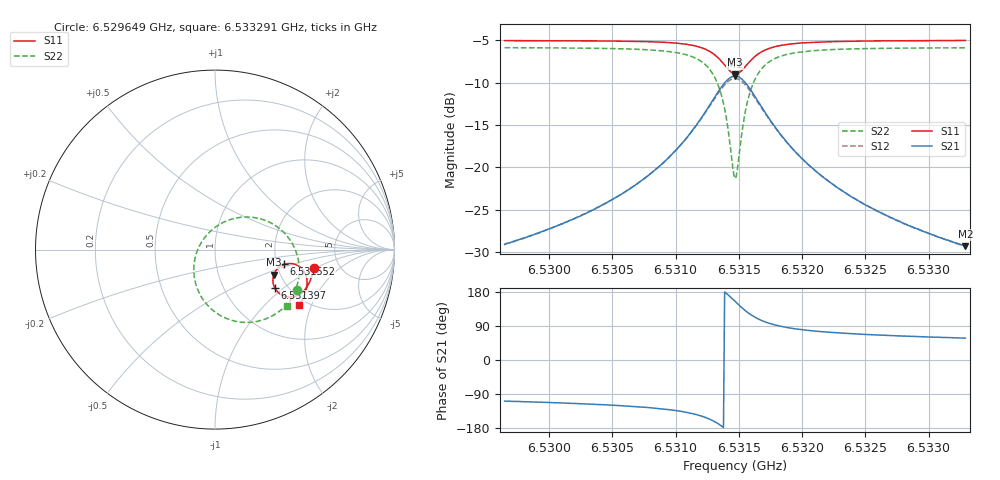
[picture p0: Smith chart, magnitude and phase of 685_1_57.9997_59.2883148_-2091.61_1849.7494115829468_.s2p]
#  HZ  S  RI  R  50.00
! Rohde & Schwarz Vector Network Analyzer
! Rohde-Schwarz,ZNB20-2Port,1311601062101988,3.16
! Created: UTC 3/21/2024, 1:21:01 AM
! freq[Hz]  re:S11  im:S11  re:S21  im:S21  re:S12  im:S12  re:S22  im:S22
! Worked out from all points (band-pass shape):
!   401 points, 6.529649 GHz to 6.533291 GHz, reference 50 ohm
!   highest |S21| = -9.22 dB at 6.53147 GHz (marker M1); lowest = -29.3 dB at 6.533291 GHz (marker M2)
!   |S21| within 3 dB of the highest: 6.531288 GHz to 6.531653 GHz (364.4 kHz wide, 0.00558 % of centre)
!   lowest |S11| = -9.0 dB at 6.53147 GHz (marker M3), VSWR 2.11, Z = 92.6 - j29.6 ohm
!   |S11| at or under -10 dB: nowhere
!   |S22| runs from -21.3 to -5.9 dB; largest |S21 - S12| = 0.015
!   S11 on the Smith chart (normalised r, x): 6.529649 GHz: 3.22, -0.98; 6.531397 GHz: 1.72, -0.87; 6.531552 GHz: 2.20, -0.43; 6.533291 GHz: 1.83, -1.64
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6.5296491e9  0.5506 -0.1039  -0.011 -0.0332  -0.0118 -0.033  0.4572 -0.2235
6.5302591e9  0.5369 -0.1558  -0.0224 -0.047  -0.0236 -0.0465  0.4204 -0.2818
6.5305868e9  0.5238 -0.1875  -0.0361 -0.0604  -0.0378 -0.0596  0.3844 -0.3218
6.5308691e9  0.5038 -0.2198  -0.0621 -0.0794  -0.0645 -0.0775  0.3261 -0.3654
6.5310785e9  0.473 -0.248  -0.1081 -0.0986  -0.1112 -0.0945  0.2342 -0.4003
6.5312424e9  0.4193 -0.2645  -0.1918 -0.1001  -0.1934 -0.0917  0.0832 -0.3908
6.5313334e9  0.3683 -0.251  -0.2699 -0.0602  -0.2669 -0.0483  -0.0437 -0.3074
6.5313698e9  0.3463 -0.2329  -0.302 -0.0227  -0.2954 -0.0108  -0.0896 -0.2381
6.5313972e9  0.3324 -0.2128  -0.3204 0.0161  -0.311 0.0267  -0.1123 -0.1702
6.5314518e9  0.3233 -0.1585  -0.3247 0.1134  -0.3111 0.1185  -0.0999 -0.00986
6.53147e9  0.3278 -0.1393  -0.3134 0.1464  -0.2994 0.1492  -0.075 0.0416
6.5314882e9  0.3362 -0.1216  -0.2955 0.1766  -0.282 0.1771  -0.0402 0.0874
6.5315519e9  0.3857 -0.0822  -0.2039 0.2415  -0.1953 0.2369  0.1212 0.1767
6.5315883e9  0.4164 -0.0773  -0.1501 0.2489  -0.1445 0.244  0.2115 0.1794
6.5316248e9  0.4426 -0.0812  -0.1053 0.2423  -0.1016 0.238  0.2856 0.1603
6.5316794e9  0.4712 -0.0952  -0.0565 0.2205  -0.0545 0.2174  0.364 0.1132
6.531734e9  0.4893 -0.1123  -0.0259 0.1952  -0.0244 0.1932  0.4118 0.0625
6.5318615e9  0.5083 -0.1482  0.00765 0.1459  0.00901 0.145  0.4591 -0.035
6.53208e9  0.5129 -0.1912  0.0222 0.0964  0.0233 0.096  0.4686 -0.1358
6.5323713e9  0.5061 -0.2291  0.0235 0.064  0.0246 0.0639  0.4549 -0.2077
6.53269e9  0.4948 -0.2599  0.0217 0.0459  0.0225 0.0456  0.4356 -0.2553
6.5332909e9  0.4706 -0.3067  0.0183 0.0288  0.0189 0.0285  0.4004 -0.3128
